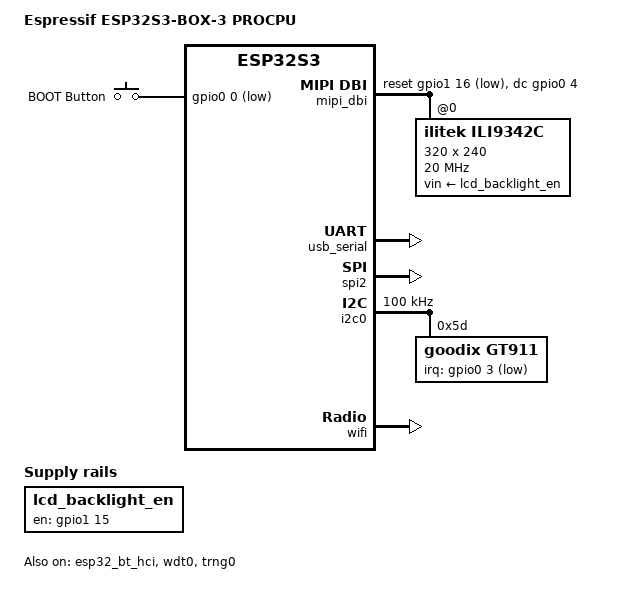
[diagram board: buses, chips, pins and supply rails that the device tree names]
/*
 * Copyright (c) 2026 NotioNext Ltd.
 *
 * SPDX-License-Identifier: Apache-2.0
 */

/dts-v1/;

#include <espressif/esp32s3/esp32s3_wroom_n16r16.dtsi>
#include <zephyr/dt-bindings/input/input-event-codes.h>
#include <zephyr/dt-bindings/input/esp32-touch-sensor-input.h>
#include <espressif/partitions_0x0_amp_16M.dtsi>
#include <zephyr/dt-bindings/display/panel.h>
#include "esp32s3_box3-pinctrl.dtsi"

/ {
	model = "Espressif ESP32S3-BOX-3 PROCPU";
	compatible = "espressif,esp32s3";

	aliases {
		watchdog0 = &wdt0;
		sw0 = &button0;
	};

	chosen {
		zephyr,sram = &sram1;
		zephyr,console = &usb_serial;
		zephyr,shell-uart = &usb_serial;
		zephyr,flash = &flash0;
		zephyr,code-partition = &slot0_partition;
		zephyr,bt-hci = &esp32_bt_hci;
		zephyr,display = &ili9342c;
		zephyr,touch = &gt911;
	};

	buttons {
		compatible = "gpio-keys";

		button0: button_0 {
			gpios = <&gpio0 0 (GPIO_PULL_UP | GPIO_ACTIVE_LOW)>;
			label = "BOOT Button";
			zephyr,code = <INPUT_KEY_0>;
		};
	};

	lcd_backlight_en: lcd_backlight_en {
		compatible = "regulator-fixed";
		regulator-name = "lcd_backlight_enable";
		enable-gpios = <&gpio1 15 GPIO_ACTIVE_HIGH>;
		regulator-boot-on;
	};

	mipi_dbi {
		compatible = "zephyr,mipi-dbi-spi";
		dc-gpios = <&gpio0 4 GPIO_ACTIVE_HIGH>;
		reset-gpios = <&gpio1 16 (GPIO_OPEN_DRAIN | GPIO_ACTIVE_LOW)>;
		spi-dev = <&spi2>;
		write-only;
		#address-cells = <1>;
		#size-cells = <0>;

		ili9342c: ili9342c@0 {
			compatible = "ilitek,ili9342c";
			reg = <0>;
			mipi-max-frequency = <20000000>;
			vin-supply = <&lcd_backlight_en>;
			pixel-format = <PANEL_PIXEL_FORMAT_RGB_565>;
			width = <320>;
			height = <240>;
			rotation = <180>;
			status = "okay";
		};
	};
};

&usb_serial {
	status = "okay";
};

&spi2 {
	#address-cells = <1>;
	#size-cells = <0>;
	status = "okay";
	pinctrl-0 = <&spim2_default>;
	pinctrl-names = "default";
};

&i2c0 {
	status = "okay";
	clock-frequency = <I2C_BITRATE_STANDARD>;
	pinctrl-0 = <&i2c0_default>;
	pinctrl-names = "default";

	gt911: gt911@5d {
		compatible = "goodix,gt911";
		reg = <0x5d>;
		irq-gpios = <&gpio0 3 GPIO_ACTIVE_LOW>;
		status = "okay";
	};
};

&touch {
	debounce-interval-ms = <30>;
	href-microvolt = <2700000>;
	lref-microvolt = <500000>;
	href-atten-microvolt = <1000000>;
	filter-mode = <ESP32_TOUCH_FILTER_MODE_IIR_16>;
	filter-debounce-cnt = <1>;
	filter-noise-thr = <ESP32_TOUCH_FILTER_NOISE_THR_4_8TH>;
	filter-jitter-step = <4>;
	filter-smooth-level = <ESP32_TOUCH_FILTER_SMOOTH_MODE_IIR_2>;
};

&gpio0 {
	status = "okay";
};

&gpio1 {
	status = "okay";
};

&esp32_bt_hci {
	status = "okay";
};

&wifi {
	status = "okay";
};

&wdt0 {
	status = "okay";
};

&trng0 {
	status = "okay";
};

&dma {
	status = "okay";
};
